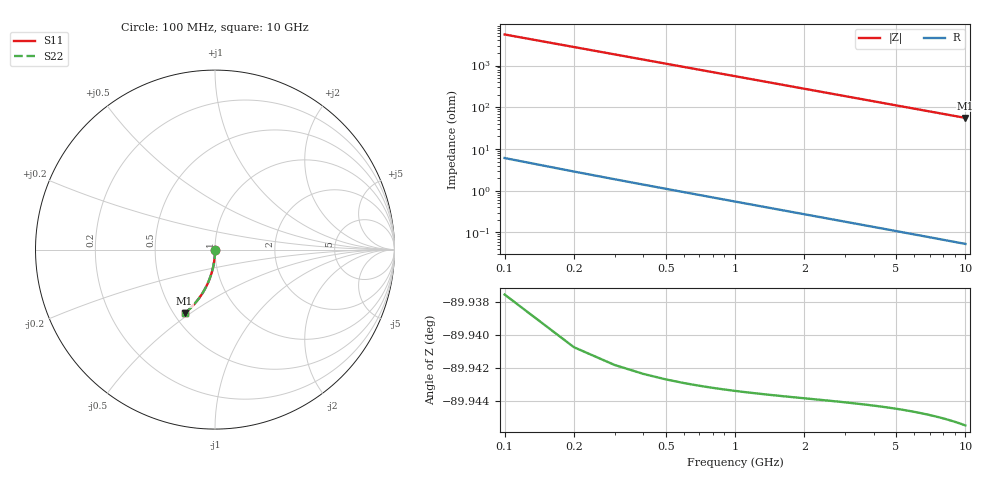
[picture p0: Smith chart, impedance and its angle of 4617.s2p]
# Hz S RI R 50.00
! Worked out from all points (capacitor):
!   100 points, 100 MHz to 10 GHz, reference 50 ohm
!   read as one part in shunt: C = 286 fF near 100 MHz
!   lowest |Z| = 55.7 ohm at 10 GHz (marker M1)
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1e8  4.6e-05 -0.00429  0.9999 -0.00468  0.9999 -0.00468  4.6e-05 -0.00429
2e8  -1.83e-05 -0.00858  0.9998 -0.00937  0.9998 -0.00937  -1.83e-05 -0.00858
3e8  -0.000123 -0.0129  0.9997 -0.014  0.9997 -0.014  -0.000123 -0.0129
4e8  -0.000268 -0.0172  0.9996 -0.0187  0.9996 -0.0187  -0.000268 -0.0172
5e8  -0.000453 -0.0215  0.9994 -0.0234  0.9994 -0.0234  -0.000453 -0.0215
6e8  -0.000678 -0.0257  0.9992 -0.0281  0.9992 -0.0281  -0.000678 -0.0257
7e8  -0.000943 -0.03  0.9989 -0.0328  0.9989 -0.0328  -0.000943 -0.03
8e8  -0.00125 -0.0343  0.9986 -0.0374  0.9986 -0.0374  -0.00125 -0.0343
9e8  -0.00159 -0.0386  0.9983 -0.0421  0.9983 -0.0421  -0.00159 -0.0386
1.1e9  -0.0024 -0.0471  0.9974 -0.0514  0.9974 -0.0514  -0.0024 -0.0471
1.4e9  -0.00392 -0.0599  0.9959 -0.0653  0.9959 -0.0653  -0.00392 -0.0599
1.8e9  -0.00648 -0.0768  0.9933 -0.0838  0.9933 -0.0838  -0.00648 -0.0768
2.1e9  -0.00882 -0.0894  0.991 -0.0976  0.991 -0.0976  -0.00882 -0.0894
2.5e9  -0.0125 -0.106  0.9873 -0.1158  0.9873 -0.1158  -0.0125 -0.106
2.9e9  -0.0167 -0.1224  0.9831 -0.1338  0.9831 -0.1338  -0.0167 -0.1224
3.4e9  -0.0229 -0.1427  0.9769 -0.156  0.9769 -0.156  -0.0229 -0.1427
4.2e9  -0.0345 -0.1741  0.9652 -0.1906  0.9652 -0.1906  -0.0345 -0.1741
5.1e9  -0.0501 -0.208  0.9495 -0.2281  0.9495 -0.2281  -0.0501 -0.208
5.9e9  -0.066 -0.2366  0.9335 -0.2598  0.9335 -0.2598  -0.066 -0.2366
6.7e9  -0.0837 -0.2635  0.9158 -0.29  0.9158 -0.29  -0.0837 -0.2635
8.4e9  -0.1258 -0.315  0.8734 -0.3482  0.8734 -0.3482  -0.1258 -0.315
1e10  -0.1699 -0.3556  0.8291 -0.3953  0.8291 -0.3953  -0.1699 -0.3556
